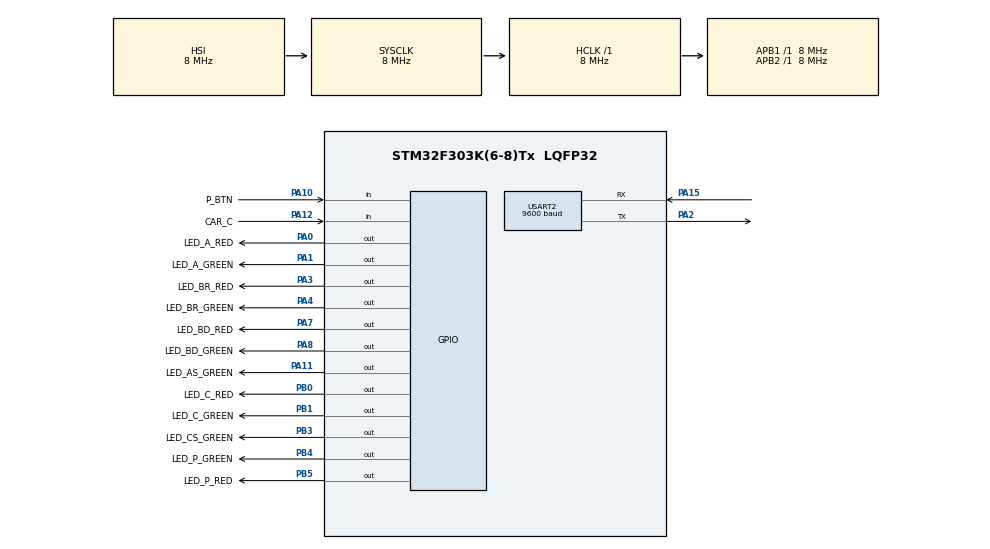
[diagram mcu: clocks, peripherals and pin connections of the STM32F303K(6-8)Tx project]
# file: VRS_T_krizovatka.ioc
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Mcu.Family=STM32F3
Mcu.Name=STM32F303K(6-8)Tx
Mcu.Package=LQFP32
NVIC.PriorityGroup=NVIC_PRIORITYGROUP_4
NVIC.USART2_IRQn=true\:0\:0\:false\:false\:true\:true\:true\:true
PA0.GPIO_Label=LED_A_RED
PA0.PinState=GPIO_PIN_SET
PA0.Signal=GPIO_Output
PA1.GPIO_Label=LED_A_GREEN
PA1.Signal=GPIO_Output
PA10.GPIO_Label=P_BTN
PA10.GPIO_PuPd=GPIO_PULLUP
PA10.Signal=GPIO_Input
PA11.GPIO_Label=LED_AS_GREEN
PA11.Signal=GPIO_Output
PA12.GPIO_Label=CAR_C
PA12.GPIO_PuPd=GPIO_PULLUP
PA12.Signal=GPIO_Input
PA13.GPIO_Label=SWDIO
PA13.Mode=Serial_Wire
PA13.Signal=SYS_JTMS-SWDIO
PA14.GPIO_Label=SWCLK
PA14.Mode=Serial_Wire
PA14.Signal=SYS_JTCK-SWCLK
PA15.Mode=Asynchronous
PA15.Signal=USART2_RX
PA2.Mode=Asynchronous
PA2.Signal=USART2_TX
PA3.GPIO_Label=LED_BR_RED
PA3.PinState=GPIO_PIN_SET
PA3.Signal=GPIO_Output
PA4.GPIO_Label=LED_BR_GREEN
PA4.PinState=GPIO_PIN_RESET
PA4.Signal=GPIO_Output
PA7.GPIO_Label=LED_BD_RED
PA7.PinState=GPIO_PIN_SET
PA7.Signal=GPIO_Output
PA8.GPIO_Label=LED_BD_GREEN
PA8.Signal=GPIO_Output
PB0.GPIO_Label=LED_C_RED
PB0.PinState=GPIO_PIN_SET
PB0.Signal=GPIO_Output
PB1.GPIO_Label=LED_C_GREEN
PB1.Signal=GPIO_Output
PB3.GPIO_Label=LED_CS_GREEN
PB3.Signal=GPIO_Output
PB4.GPIO_Label=LED_P_GREEN
PB4.Signal=GPIO_Output
PB5.GPIO_Label=LED_P_RED
PB5.PinState=GPIO_PIN_SET
PB5.Signal=GPIO_Output
PF0\ /\ OSC_IN.GPIO_Label=MCO
PF0\ /\ OSC_IN.Mode=HSE-External-Clock-Source
PF0\ /\ OSC_IN.Signal=RCC_OSC_IN
ProjectManager.HeapSize=0x200
ProjectManager.StackSize=0x400
ProjectManager.TargetToolchain=STM32CubeIDE
RCC.AHBFreq_Value=8000000
RCC.APB1Freq_Value=8000000
RCC.APB2Freq_Value=8000000
RCC.CortexFreq_Value=8000000
RCC.HSE_VALUE=8000000
RCC.HSI_VALUE=8000000
RCC.SYSCLKFreq_VALUE=8000000
USART2.BaudRate=9600
USART2.VirtualMode-Asynchronous=VM_ASYNC
board=NUCLEO-F303K8

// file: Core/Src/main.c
/* USER CODE BEGIN Header */
/**
  ******************************************************************************
  * @file           : main.c
  * @brief          : Main program body
  ******************************************************************************
  * @attention
  *
  * Copyright (c) 2026 STMicroelectronics.
  * All rights reserved.
  *
  * This software is licensed under terms that can be found in the LICENSE file
  * in the root directory of this software component.
  * If no LICENSE file comes with this software, it is provided AS-IS.
  *
  ******************************************************************************
  */
/* USER CODE END Header */
#include "main.h"
#include "usart.h"
#include "gpio.h"

/* USER CODE BEGIN Includes */
#include "traffic_gpio.h"
#include "traffic_fsm.h"
#include "traffic_inputs.h"
#include "traffic_serial.h"
#include "traffic_serial_link.h"
#include "serial_port.h"
/* USER CODE END Includes */

void SystemClock_Config(void);

/* USER CODE BEGIN 0 */

/* Automat oznami zmenu svetiel, ovladac GPIO ich nastavi na pinoch */
static void apply_signals(const TrafficSignals *signals)
{
  const TrafficGpioOutputs outputs =
  {
    .a = signals->a,
    .b_r = signals->b_r,
    .b_d = signals->b_d,
    .c = signals->c,
    .p = signals->p,
    .a_s_on = signals->a_s_on,
    .c_s_on = signals->c_s_on
  };
  TrafficGpio_ApplyOutputs(&outputs);
}

/* Prijate znaky z terminalu -> protokol -> automat, odpoved sa odosle na pozadi */
static void process_serial(void)
{
  char c;
  while (SerialPort_ReadChar(&c))
  {
    char reply[TRAFFIC_SERIAL_REPLY_MAX];
    const size_t n = TrafficSerial_PutChar(c, reply, sizeof reply);
    if (n > 0U)
    {
      (void)SerialPort_Write(reply, n);
    }
  }
}

/* USER CODE END 0 */

int main(void)
{

  /* MCU Configuration--------------------------------------------------------*/

  /* Reset of all peripherals, Initializes the Flash interface and the Systick. */
  HAL_Init();

  /* Configure the system clock */
  SystemClock_Config();

  /* Initialize all configured peripherals */
  MX_GPIO_Init();
  MX_USART2_UART_Init();
  /* USER CODE BEGIN 2 */
  TrafficGpio_Init();
  TrafficInputs_Init(HAL_GetTick());
  TrafficFsm_RegisterOutputCallback(apply_signals);   /* registracia pred spustenim automatu */
  TrafficFsm_Init(HAL_GetTick());
  TrafficSerial_Init(TrafficSerialLink_Handlers());   /* registracia pred spustenim prijmu */
  SerialPort_Init(&huart2);
  /* USER CODE END 2 */

  /* Infinite loop */
  while (1)
  {

    /* USER CODE BEGIN 3 */
    const uint32_t now_ms = HAL_GetTick();
    TrafficInputs_Update(now_ms);
    TrafficFsm_Update(now_ms, TrafficInputs_IsCarPresent(), TrafficInputs_TakePedestrianPress());
    process_serial();
  }
  /* USER CODE END 3 */
}

void SystemClock_Config(void)
{
  RCC_OscInitTypeDef RCC_OscInitStruct = {0};
  RCC_ClkInitTypeDef RCC_ClkInitStruct = {0};

  /** Initializes the RCC Oscillators according to the specified parameters
  * in the RCC_OscInitTypeDef structure.
  */
  RCC_OscInitStruct.OscillatorType = RCC_OSCILLATORTYPE_HSI;
  RCC_OscInitStruct.HSIState = RCC_HSI_ON;
  RCC_OscInitStruct.HSICalibrationValue = RCC_HSICALIBRATION_DEFAULT;
  RCC_OscInitStruct.PLL.PLLState = RCC_PLL_NONE;
  if (HAL_RCC_OscConfig(&RCC_OscInitStruct) != HAL_OK)
  {
    Error_Handler();
  }

  /** Initializes the CPU, AHB and APB buses clocks
  */
  RCC_ClkInitStruct.ClockType = RCC_CLOCKTYPE_HCLK|RCC_CLOCKTYPE_SYSCLK
                              |RCC_CLOCKTYPE_PCLK1|RCC_CLOCKTYPE_PCLK2;
  RCC_ClkInitStruct.SYSCLKSource = RCC_SYSCLKSOURCE_HSI;
  RCC_ClkInitStruct.AHBCLKDivider = RCC_SYSCLK_DIV1;
  RCC_ClkInitStruct.APB1CLKDivider = RCC_HCLK_DIV1;
  RCC_ClkInitStruct.APB2CLKDivider = RCC_HCLK_DIV1;

  if (HAL_RCC_ClockConfig(&RCC_ClkInitStruct, FLASH_LATENCY_0) != HAL_OK)
  {
    Error_Handler();
  }
}

void Error_Handler(void)
{
  __disable_irq();
  while (1)
  {
  }
}
